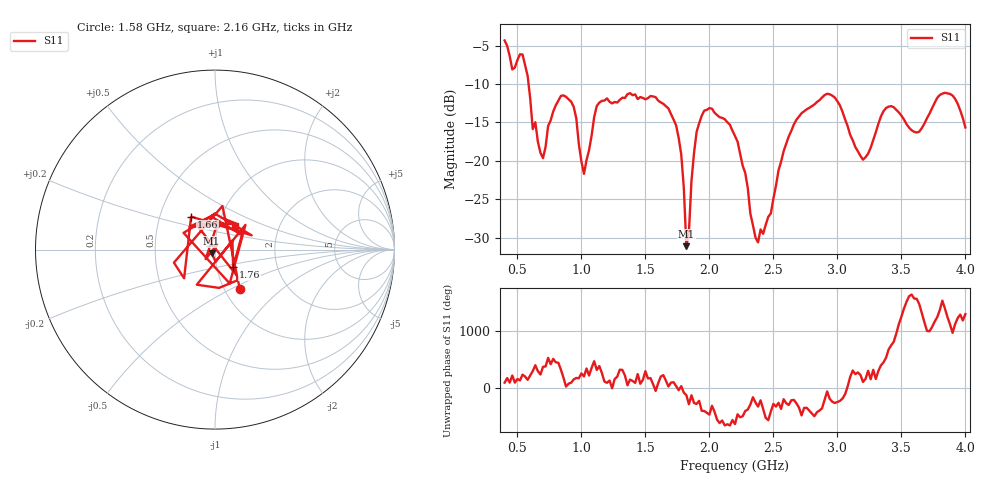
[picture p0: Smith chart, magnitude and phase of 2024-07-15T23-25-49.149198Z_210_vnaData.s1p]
!Created with skrf (http://scikit-rf.org).
# Hz S RI R 50.0
!freq ReS11 ImS11
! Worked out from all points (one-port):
!   181 points, 400 MHz to 4 GHz, reference 50 ohm
!   lowest |S11| = -31.1 dB at 1.82 GHz (marker M1), VSWR 1.06, Z = 48.1 - j1.98 ohm
!   |S11| at or under -10 dB: 587.2 MHz to end of sweep
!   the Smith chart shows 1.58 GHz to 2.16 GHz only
!   S11 on the Smith chart (normalised r, x): 1.58 GHz: 1.18, -0.56; 1.66 GHz: 0.72, +0.28; 1.76 GHz: 1.20, -0.24; 2.16 GHz: 1.20, +0.33
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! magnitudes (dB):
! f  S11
! 400 MHz  -4.3
! 460 MHz  -8.1
! 540 MHz  -6.2
! 620 MHz  -15.9
! 700 MHz  -19.6
! 860 MHz  -11.5
! 940 MHz  -13.0
! 1.02 GHz  -21.7
! 1.12 GHz  -12.9
! 1.3 GHz  -12.1
! 1.58 GHz  -11.7
! 1.66 GHz  -12.9
! 1.76 GHz  -17.0
! 1.8 GHz  -23.5
! 1.82 GHz  -31.1
! 1.88 GHz  -19.0
! 1.94 GHz  -14.1
! 2.16 GHz  -15.3
! 2.2 GHz  -16.8
! 2.38 GHz  -30.6
! 2.66 GHz  -15.3
! 2.92 GHz  -11.3
! 3.1 GHz  -16.6
! 3.2 GHz  -19.8
! 3.38 GHz  -13.1
! 3.56 GHz  -15.7
! 3.84 GHz  -11.1
! 4 GHz  -15.7
